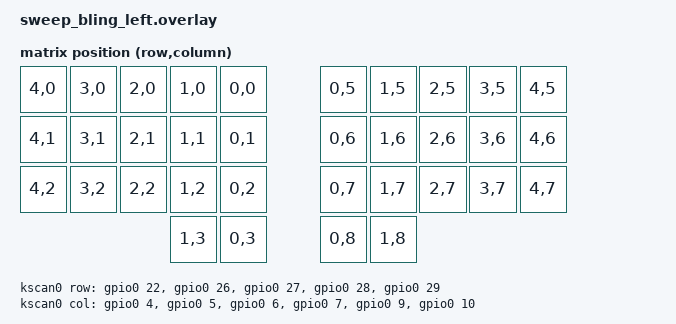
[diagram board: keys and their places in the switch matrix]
#include <dt-bindings/zmk/matrix_transform.h>

/ {
    chosen {
        zephyr,console = &cdc_acm_uart0;
        zephyr,shell-uart = &cdc_acm_uart0;
        zmk,physical-layout = &matrix_physical_layout;
        zmk,kscan = &kscan0;
        zmk,pointing = &trackpoint;
    };

    /* PIO PS/2 Trackpoint Driver */
    trackpoint_device: ps2_device {
        compatible = "gpio-ps2-pio";
        status = "okay";
        label = "TRACKPOINT";
        scl-gpios = <&gpio0 3 (GPIO_ACTIVE_HIGH | GPIO_PULL_UP)>;
        sda-gpios = <&gpio0 2 (GPIO_ACTIVE_HIGH | GPIO_PULL_UP)>;
        pio-device = <&pio0>;
        pio-sm = <0>;
    };

    /* PS/2 Mouse Input Listener (processes trackpoint events and sends HID reports) */
    trackpoint: zmk_input_mouse_ps2 {
        compatible = "zmk,input-mouse-ps2";
        ps2-device = <&trackpoint_device>;
        /* Sensitivity tuning - default is 128, range 0-255 */
        /* tp-sensitivity = <128>; */
    };

    default_transform: matrix_transform {
        compatible = "zmk,matrix-transform";
        columns = <11>;
        rows = <5>;
        map = <
            RC(4,0) RC(3,0) RC(2,0) RC(1,0) RC(0,0)   RC(0,5) RC(1,5) RC(2,5) RC(3,5) RC(4,5)
            RC(4,1) RC(3,1) RC(2,1) RC(1,1) RC(0,1)   RC(0,6) RC(1,6) RC(2,6) RC(3,6) RC(4,6)
            RC(4,2) RC(3,2) RC(2,2) RC(1,2) RC(0,2)   RC(0,7) RC(1,7) RC(2,7) RC(3,7) RC(4,7)
                    RC(1,3) RC(0,3)   RC(0,8) RC(1,8)
        >;
    };

    matrix_physical_layout: matrix_physical_layout_0 {
        compatible = "zmk,physical-layout";
        display-name = "Sweep Bling Left";
        transform = <&default_transform>;
    };

    kscan0: kscan_0 {
        compatible = "zmk,kscan-gpio-matrix";
        diode-direction = "row2col";
        row-gpios
            = <&gpio0 22 GPIO_ACTIVE_HIGH>
            , <&gpio0 26 GPIO_ACTIVE_HIGH>
            , <&gpio0 27 GPIO_ACTIVE_HIGH>
            , <&gpio0 28 GPIO_ACTIVE_HIGH>
            , <&gpio0 29 GPIO_ACTIVE_HIGH>
            ;
        col-gpios
            = <&gpio0 4  (GPIO_ACTIVE_HIGH | GPIO_PULL_DOWN)>
            , <&gpio0 5  (GPIO_ACTIVE_HIGH | GPIO_PULL_DOWN)>
            , <&gpio0 6  (GPIO_ACTIVE_HIGH | GPIO_PULL_DOWN)>
            , <&gpio0 7  (GPIO_ACTIVE_HIGH | GPIO_PULL_DOWN)>
            , <&gpio0 9  (GPIO_ACTIVE_HIGH | GPIO_PULL_DOWN)>
            , <&gpio0 10 (GPIO_ACTIVE_HIGH | GPIO_PULL_DOWN)>
            ;
    };
};

&pio0 {
    status = "okay";
};

&i2c0 {
    status = "disabled";
};

/* Enable the RP2040 USB controller */
&zephyr_udc0 {
    status = "okay";

    /* Create the virtual serial port */
    cdc_acm_uart0: cdc_acm_uart0 {
        compatible = "zephyr,cdc-acm-uart";
    };
};
